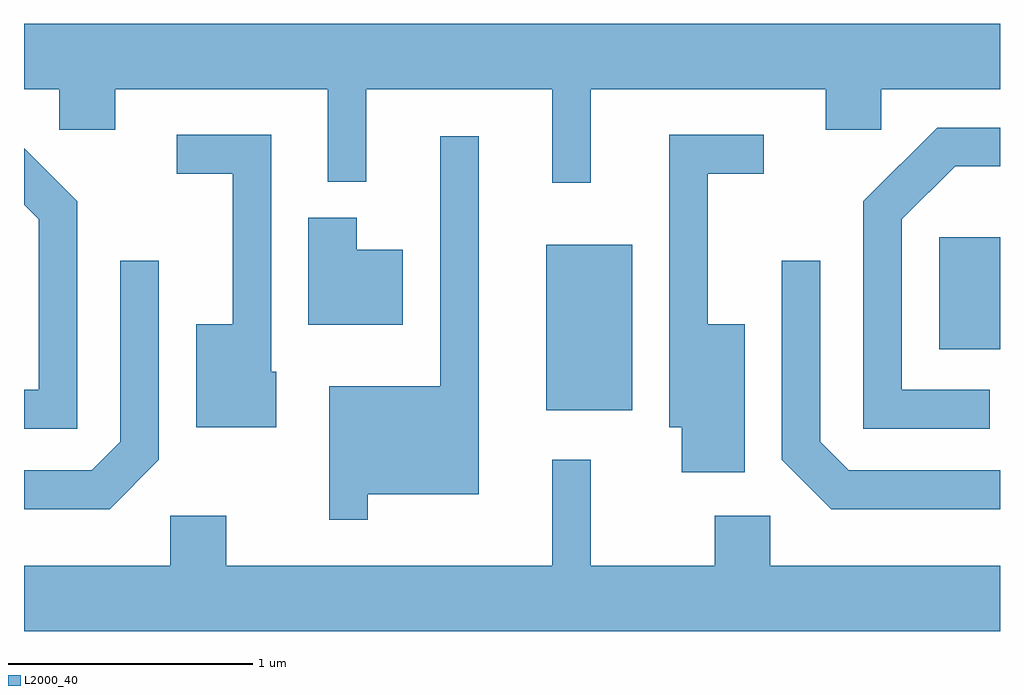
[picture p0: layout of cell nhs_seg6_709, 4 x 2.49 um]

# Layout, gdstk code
import gdstk
lib = gdstk.Library(unit=1e-6, precision=1e-09)
def R(c, l, rs):  # rectangles x0, y0, x1, y1
    for r in rs: c.add(gdstk.rectangle(r[:2], r[2:], *l))
def P(c, l, *ps):  # polygons
    for p in ps: c.add(gdstk.Polygon(p, *l))
L2000_40 = (2000, 40)

nhs_seg6_709 = lib.new_cell('nhs_seg6_709')
R(nhs_seg6_709, L2000_40, [(207.751,1613.101,208.104,1613.779), (209.361,1613.351,209.611,1613.809)])
P(nhs_seg6_709, L2000_40, [(207.934,1614.416),(208.896,1614.416),(208.896,1614.251),(209.124,1614.251),(209.124,1614.416),(209.611,1614.416),(209.611,1614.684),(205.611,1614.684),(205.611,1614.416),(205.756,1614.416),(205.756,1614.251),(205.984,1614.251),(205.984,1614.416),(206.856,1614.416),(206.856,1614.038),(207.014,1614.038),(207.014,1614.416),(207.776,1614.416),(207.776,1614.033),(207.934,1614.033)],
  [(209.568,1613.184),(209.209,1613.184),(209.209,1613.884),(209.427,1614.101),(209.611,1614.101),(209.611,1614.259),(209.354,1614.259),(209.051,1613.957),(209.051,1613.026),(209.568,1613.026)],
  [(208.564,1613.454),(208.414,1613.454),(208.414,1614.071),(208.643,1614.071),(208.643,1614.229),(208.256,1614.229),(208.256,1613.031),(208.306,1613.031),(208.306,1612.846),(208.564,1612.846)],
  [(206.644,1613.259),(206.624,1613.259),(206.624,1614.229),(206.238,1614.229),(206.238,1614.071),(206.466,1614.071),(206.466,1613.454),(206.316,1613.454),(206.316,1613.031),(206.644,1613.031)],
  [(207.019,1612.756),(207.474,1612.756),(207.474,1614.223),(207.316,1614.223),(207.316,1613.199),(206.861,1613.199),(206.861,1612.653),(207.019,1612.653)],
  [(205.829,1613.957),(205.611,1614.175),(205.611,1613.944),(205.671,1613.884),(205.671,1613.184),(205.611,1613.184),(205.611,1613.026),(205.829,1613.026)],
  [(207.164,1613.759),(206.974,1613.759),(206.974,1613.889),(206.776,1613.889),(206.776,1613.451),(207.164,1613.451)],
  [(209.611,1612.854),(208.992,1612.854),(208.874,1612.972),(208.874,1613.713),(208.716,1613.713),(208.716,1612.899),(208.919,1612.696),(209.611,1612.696)],
  [(206.164,1612.899),(206.164,1613.713),(206.006,1613.713),(206.006,1612.972),(205.889,1612.854),(205.611,1612.854),(205.611,1612.696),(205.962,1612.696)],
  [(209.611,1612.464),(208.669,1612.464),(208.669,1612.669),(208.441,1612.669),(208.441,1612.464),(207.934,1612.464),(207.934,1612.898),(207.776,1612.898),(207.776,1612.464),(206.439,1612.464),(206.439,1612.669),(206.211,1612.669),(206.211,1612.464),(205.611,1612.464),(205.611,1612.196),(209.611,1612.196)])

lib.write_gds('nhs_seg6_709.gds')
